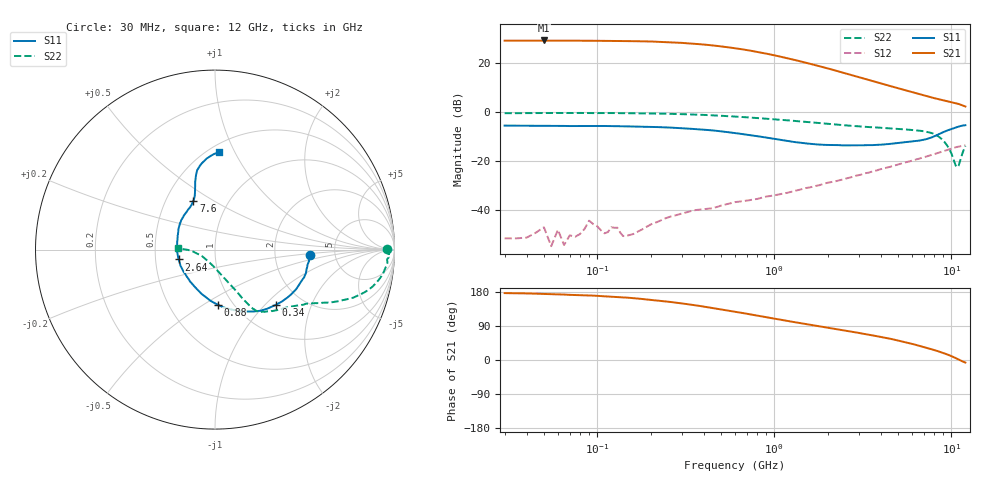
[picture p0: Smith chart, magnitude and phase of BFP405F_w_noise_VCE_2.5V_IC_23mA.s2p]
! Infineon Technologies  Discrete & RF Semiconductors
! BFP405F
! VCE =  2.5 V,  IC =  23 mA
! Common Emitter S-Parameters:  Nov 2015
# GHz  S  MA  R  50
!  f  S11  S21  S12  S22
! GHz  MAG  ANG  MAG  ANG  MAG  ANG  MAG  ANG
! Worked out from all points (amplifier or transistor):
!   239 points, 30 MHz to 12 GHz, reference 50 ohm
!   highest |S21| = 29.4 dB at 50 MHz (marker M1)
!   |S21| within 3 dB of that: start of sweep to 574.9 MHz
!   unconditionally stable (mu >= 1): 1.464 GHz to end of sweep
!   at 300 MHz: K = 0.33, MSG = 35.0 dB, |S12| = -41.5 dB
!   at 1.88 GHz: K = 1.12, MAG = 21.8 dB, |S12| = -29.4 dB
!   at 12 GHz: K = 1.41, MAG = 4.2 dB, |S12| = -13.6 dB
!   lowest NFmin = 2.38 dB at 450 MHz
!   S11 on the Smith chart (normalised r, x): 30 MHz: 3.25, -0.29; 340 MHz: 1.49, -1.16; 880 MHz: 0.85, -0.58; 2.64 GHz: 0.66, -0.08; 7.6 GHz: 0.69, +0.41; 12 GHz: 0.56, +0.87
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0.03  0.5325 -3.5  29.39 176.5  0.0026 75.8  0.9565 0.1
0.05  0.5266 -7.1  29.64 174.3  0.0044 43.8  0.9697 -1.5
0.055  0.527 -7.1  29.52 173.9  0.0018 100.8  0.9684 -1.4
0.06  0.5275 -7.1  29.4 173.4  0.0039 171.9  0.9672 -1.3
0.065  0.5245 -8.3  29.39 172.7  0.0019 126.2  0.9648 -1.7
0.085  0.5222 -11.2  29.25 170.7  0.0041 73.8  0.9643 -2.9
0.15  0.5132 -19.9  28.8 164.3  0.003 100.1  0.9556 -6.0
0.2  0.5029 -26.1  28.25 158.7  0.005 62.2  0.9455 -8.2
0.24  0.4913 -30.8  27.45 155.0  0.0066 76.6  0.9343 -9.7
0.34  0.4579 -42.1  25.6 145.9  0.0095 74.3  0.9028 -13.1
0.45  0.4247 -53.3  23.44 137.1  0.0108 74.7  0.8651 -16.0
0.6  0.3756 -66.7  20.53 127.3  0.0144 71.7  0.8167 -19.1
0.7  0.3472 -74.5  18.86 121.9  0.0155 74.4  0.7876 -20.5
0.88  0.3068 -87.3  16.18 113.7  0.0183 70.3  0.7429 -22.8
1.2  0.2573 -107.1  12.68 102.7  0.0226 70.9  0.6806 -25.7
1.64  0.2237 -129.2  9.592 92.1  0.0297 70.9  0.6197 -28.9
2.1  0.2131 -148.0  7.563 83.7  0.0371 69.7  0.5714 -32.7
2.64  0.2094 -164.9  5.992 75.9  0.0452 69.6  0.5319 -36.5
4.5  0.2252 156.4  3.455 56.2  0.076 63.9  0.4699 -46.7
7.6  0.2983 113.7  2.046 29.4  0.1307 51.1  0.382 -57.6
10.8  0.4985 96.8  1.506 3.0  0.1952 32.3  0.0747 -132.0
12  0.5423 87.8  1.313 -6.8  0.2101 25.3  0.2045 178.1
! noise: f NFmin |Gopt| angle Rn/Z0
0.45  2.38  0.02  -151  0.44
0.9  2.41  0.04  -143  0.29
1.5  2.48  0.07  -134  0.34
1.9  2.55  0.09  -131  0.43
2.4  2.73  0.1  -127  0.19
3  2.85  0.11  -124  0.2
3.5  2.94  0.12  -121  0.31
4.5  3.22  0.17  -107  0.53
5.5  3.59  0.31  -88  0.51
